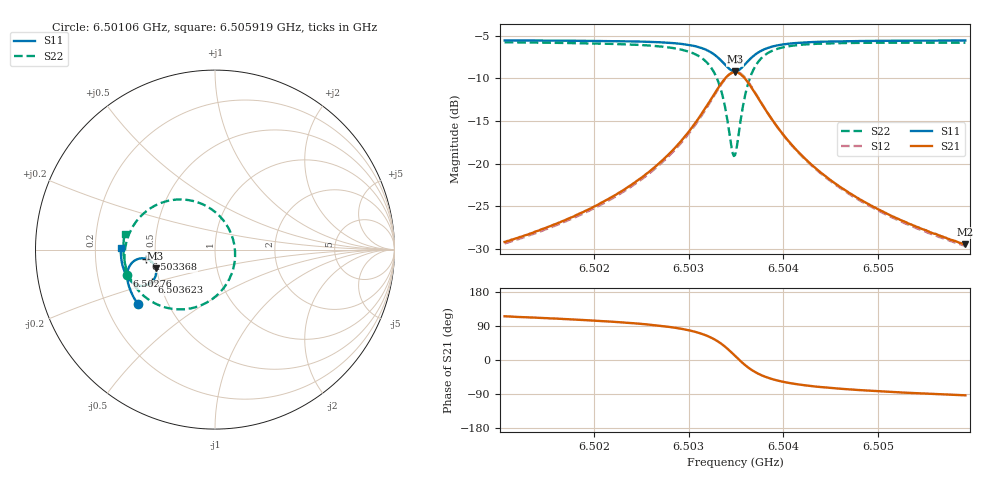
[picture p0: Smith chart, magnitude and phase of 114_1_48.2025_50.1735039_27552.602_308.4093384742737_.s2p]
#  HZ  S  RI  R  50.00
! Rohde & Schwarz Vector Network Analyzer
! Rohde-Schwarz,ZNB20-2Port,1311601062101988,3.16
! Created: UTC 3/20/2024, 11:41:07 AM
! freq[Hz]  re:S11  im:S11  re:S21  im:S21  re:S12  im:S12  re:S22  im:S22
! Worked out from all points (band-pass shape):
!   401 points, 6.50106 GHz to 6.505919 GHz, reference 50 ohm
!   highest |S21| = -9.29 dB at 6.503489 GHz (marker M1); lowest = -29.5 dB at 6.505919 GHz (marker M2)
!   |S21| within 3 dB of the highest: 6.503246 GHz to 6.503732 GHz (486 kHz wide, 0.00747 % of centre)
!   lowest |S11| = -9.2 dB at 6.503489 GHz (marker M3), VSWR 2.06, Z = 24.7 - j5.78 ohm
!   |S11| at or under -10 dB: nowhere
!   |S22| runs from -19.1 to -5.8 dB; largest |S21 - S12| = 0.012
!   S11 on the Smith chart (normalised r, x): 6.50106 GHz: 0.34, -0.28; 6.50276 GHz: 0.33, -0.13; 6.503368 GHz: 0.44, -0.05; 6.503623 GHz: 0.45, -0.19; 6.505919 GHz: 0.31, +0.01
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6.5010596e9  -0.4312 -0.3018  -0.0149 0.0314  -0.0131 0.0314  -0.4929 -0.1433
6.5018735e9  -0.4656 -0.2408  -0.0139 0.0497  -0.0116 0.0491  -0.5044 -0.0547
6.5022988e9  -0.4802 -0.2024  -0.0111 0.0683  -0.00799 0.0673  -0.5004 0.00729
6.5026875e9  -0.489 -0.1586  -0.00117 0.1002  0.00256 0.0977  -0.4786 0.0873
6.5027604e9  -0.4894 -0.1486  0.00279 0.1094  0.00668 0.1064  -0.4695 0.1068
6.5029669e9  -0.4856 -0.1151  0.0246 0.1433  0.0284 0.1389  -0.4241 0.1748
6.5031249e9  -0.4706 -0.0829  0.0646 0.1796  0.0675 0.1738  -0.3462 0.2385
6.5032706e9  -0.4322 -0.0533  0.1475 0.2087  0.1482 0.202  -0.1948 0.2792
6.5033192e9  -0.4107 -0.0485  0.1906 0.2069  0.1908 0.201  -0.1191 0.27
6.5033678e9  -0.3852 -0.0508  0.2402 0.1913  0.2402 0.1864  -0.0344 0.2345
6.5034529e9  -0.3419 -0.0806  0.319 0.1153  0.3215 0.1107  0.0913 0.0847
6.5034893e9  -0.331 -0.103  0.3367 0.0661  0.3403 0.0601  0.1117 -0.00844
6.5035136e9  -0.328 -0.1194  0.3399 0.0308  0.3438 0.0238  0.1089 -0.0725
6.5035501e9  -0.3304 -0.1438  0.3323 -0.0199  0.3357 -0.029  0.0806 -0.1626
6.503623e9  -0.3528 -0.1811  0.2846 -0.0969  0.2845 -0.1086  -0.0316 -0.2864
6.5037201e9  -0.3941 -0.2008  0.2056 -0.1404  0.2004 -0.1507  -0.193 -0.3331
6.5038781e9  -0.4438 -0.1933  0.1166 -0.1396  0.1092 -0.1451  -0.3547 -0.2883
6.5040482e9  -0.4732 -0.1722  0.0682 -0.1184  0.0616 -0.1209  -0.4334 -0.2203
6.5043033e9  -0.4957 -0.1409  0.0348 -0.0914  0.03 -0.092  -0.4816 -0.1418
6.5047042e9  -0.5124 -0.0984  0.0142 -0.0653  0.0109 -0.0649  -0.5055 -0.0595
6.5051172e9  -0.5208 -0.0599  0.00528 -0.0498  0.00294 -0.0492  -0.5108 4.62e-05
6.505919e9  -0.526 0.00864  -0.00189 -0.0336  -0.00338 -0.0327  -0.5034 0.0871
